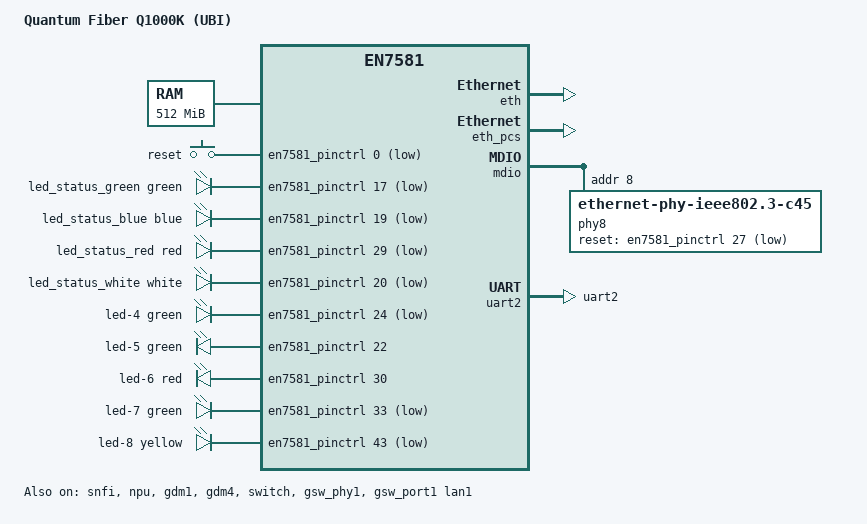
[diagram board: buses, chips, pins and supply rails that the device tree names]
// SPDX-License-Identifier: GPL-2.0-or-later OR MIT

/dts-v1/;

#include <dt-bindings/leds/common.h>
#include <dt-bindings/gpio/gpio.h>
#include <dt-bindings/input/input.h>
#include <dt-bindings/phy/phy.h>
#include "an7581.dtsi"

/ {
	model = "Quantum Fiber Q1000K (UBI)";
	compatible = "quantum,q1000k-ubi", "quantum,q1000k", "airoha,an7581",
		     "airoha,en7581";

	aliases {
		serial0 = &uart1;
		led-boot = &led_status_red;
		led-failsafe = &led_status_blue;
		led-upgrade = &led_status_blue;
		led-running = &led_status_green;
	};

	chosen {
		rootdisk = <&ubi_rootfs>;
		bootargs = "console=ttyS0,115200 earlycon ubi.block=0,fit root=/dev/fit0 rootwait";
		stdout-path = "serial0:115200n8";
	};

	memory@80000000 {
		/* AN7581SIT board with 512 MiB DRAM. */
		device_type = "memory";
		reg = <0x0 0x80000000 0x0 0x20000000>;
	};

	keys {
		compatible = "gpio-keys";

		key-restart {
			label = "reset";
			gpios = <&en7581_pinctrl 0 GPIO_ACTIVE_LOW>;
			linux,code = <KEY_RESTART>;
		};
	};

	leds {
		compatible = "gpio-leds";

		led_status_green: led-0 {
			color = <LED_COLOR_ID_GREEN>;
			function = LED_FUNCTION_STATUS;
			gpios = <&en7581_pinctrl 17 GPIO_ACTIVE_LOW>;
		};

		led_status_blue: led-1 {
			color = <LED_COLOR_ID_BLUE>;
			function = LED_FUNCTION_STATUS;
			gpios = <&en7581_pinctrl 19 GPIO_ACTIVE_LOW>;
		};

		led_status_red: led-2 {
			color = <LED_COLOR_ID_RED>;
			function = LED_FUNCTION_STATUS;
			gpios = <&en7581_pinctrl 29 GPIO_ACTIVE_LOW>;
			default-state = "on";
		};

		led_status_white: led-3 {
			color = <LED_COLOR_ID_WHITE>;
			function = LED_FUNCTION_STATUS;
			gpios = <&en7581_pinctrl 20 GPIO_ACTIVE_LOW>;
		};

		led-4 {
			color = <LED_COLOR_ID_GREEN>;
			function = LED_FUNCTION_WAN;
			gpios = <&en7581_pinctrl 24 GPIO_ACTIVE_LOW>;
		};

		led-5 {
			color = <LED_COLOR_ID_GREEN>;
			function = LED_FUNCTION_WAN;
			function-enumerator = <1>;
			gpios = <&en7581_pinctrl 22 GPIO_ACTIVE_HIGH>;
		};

		led-6 {
			color = <LED_COLOR_ID_RED>;
			function = LED_FUNCTION_WAN;
			gpios = <&en7581_pinctrl 30 GPIO_ACTIVE_HIGH>;
		};

		/* 1 GbE jack; the 10 GbE LEDs are driven by the RTL8261N. */
		led-7 {
			color = <LED_COLOR_ID_GREEN>;
			function = LED_FUNCTION_LAN;
			gpios = <&en7581_pinctrl 33 GPIO_ACTIVE_LOW>;
		};

		led-8 {
			color = <LED_COLOR_ID_YELLOW>;
			function = LED_FUNCTION_LAN;
			gpios = <&en7581_pinctrl 43 GPIO_ACTIVE_LOW>;
		};
	};
};

&en7581_pinctrl {
	gpio-ranges = <&en7581_pinctrl 0 13 50>;

	mdio_pins: mdio-pins {
		mux {
			function = "mdio";
			groups = "mdio";
		};

		conf {
			pins = "gpio2";
			output-high;
		};
	};

	uart2_pins: uart2-pins {
		mux {
			function = "uart";
			groups = "uart2";
		};
	};
};

&snfi {
	status = "okay";
};

&spi_nand {
	#address-cells = <1>;
	#size-cells = <1>;

	partitions {
		compatible = "fixed-partitions";
		#address-cells = <1>;
		#size-cells = <1>;

		partition@0 {
			label = "vendor";
			reg = <0x00000000 0x00600000>;
			read-only;
		};

		partition@600000 {
			label = "chainloader";
			reg = <0x00600000 0x00100000>;
			read-only;
		};

		partition@700000 {
			label = "ubi";
			reg = <0x00700000 0x1b600000>;
			compatible = "linux,ubi";

			volumes {
				ubi-volume-ubootenv {
					volname = "ubootenv";
					nvmem-layout {
						compatible = "u-boot,env-redundant-bool";
					};
				};

				ubi-volume-ubootenv2 {
					volname = "ubootenv2";
					nvmem-layout {
						compatible = "u-boot,env-redundant-bool";
					};
				};

				ubi_rootfs: ubi-volume-fit {
					volname = "fit";
				};
			};
		};

		partition@1bd00000 {
			label = "art";
			reg = <0x1bd00000 0x00300000>;
			read-only;
		};

		partition@1c000000 {
			label = "reserved_bmt";
			reg = <0x1c000000 0x04000000>;
			read-only;
		};
	};
};

&npu {
	status = "okay";
};

&eth {
	status = "okay";
};

&gdm1 {
	status = "okay";
};

/* Optical uplink; enable once the PON data path is supported. */
&pon_pcs {
	status = "disabled";
};

&gdm2 {
	status = "disabled";
};

&eth_pcs {
	status = "okay";
};

&gdm4 {
	/* 10 GbE LAN through the external RTL8261N at MDIO address 8. */
	status = "okay";

	managed = "in-band-status";
	phy-handle = <&phy8>;
	phy-mode = "usxgmii";

	openwrt,netdev-name = "lan2";
};

&switch {
	status = "okay";

	pinctrl-names = "default";
	pinctrl-0 = <&mdio_pins>;

	mdio {
		phy8: ethernet-phy@8 {
			compatible = "ethernet-phy-ieee802.3-c45";
			reg = <8>;
			reset-gpios = <&en7581_pinctrl 27 GPIO_ACTIVE_LOW>;
			reset-assert-us = <200000>;
			reset-deassert-us = <200000>;
			tx-polarity = <PHY_POL_INVERT>;
			rx-polarity = <PHY_POL_INVERT>;
		};
	};
};

/* 1 GbE LAN on the internal switch (GDM1 CPU port). */
&gsw_phy1 {
	status = "okay";
	interrupts = <1>;
};

&gsw_port1 {
	status = "okay";
	label = "lan1";
};

&uart2 {
	status = "okay";
	pinctrl-names = "default";
	pinctrl-0 = <&uart2_pins>;
};
